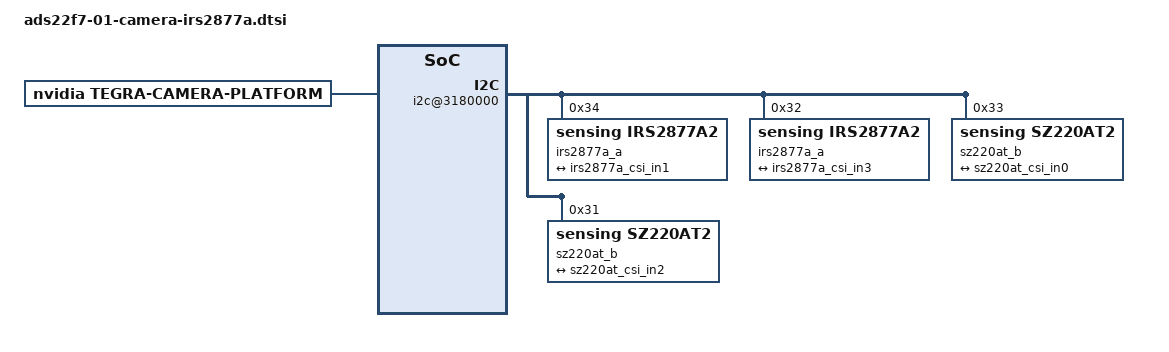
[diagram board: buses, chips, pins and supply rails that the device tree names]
/*
 * Copyright (c) 2018-2021, NVIDIA CORPORATION.  All rights reserved.
 *
 * This program is free software; you can redistribute it and/or modify it
 * under the terms and conditions of the GNU General Public License,
 * version 2, as published by the Free Software Foundation.
 *
 * This program is distributed in the hope it will be useful, but WITHOUT
 * ANY WARRANTY; without even the implied warranty of MERCHANTABILITY or
 * FITNESS FOR A PARTICULAR PURPOSE.  See the GNU General Public License for
 * more details.
 *
 * You should have received a copy of the GNU General Public License
 * along with this program.  If not, see <http://www.gnu.org/licenses/>.
 */

/ {

	 tegra-capture-vi {
        num-channels = <4>;
        ports {
            #address-cells = <1>;
            #size-cells = <0>;
            port@0 {
                reg = <0>;
                sz220at_vi_in0: endpoint {
                    vc-id = <0>;
                    port-index = <4>;
                    bus-width = <4>;
                    remote-endpoint = <&sz220at_csi_out0>;
                };
            };
            port@1 {
                reg = <1>;
                irs2877a_vi_in1: endpoint {
                    vc-id = <1>;
                    port-index = <4>;
                    bus-width = <4>;
                    remote-endpoint = <&irs2877a_csi_out1>;
                };
            };
            port@2 {
                reg = <2>;
                sz220at_vi_in2: endpoint {
                    vc-id = <2>;
                    port-index = <4>;
                    bus-width = <4>;
                    remote-endpoint = <&sz220at_csi_out2>;
                };
            };
            port@3 {
                reg = <3>;
                irs2877a_vi_in3: endpoint {
                    vc-id = <3>;
                    port-index = <4>;
                    bus-width = <4>;
                    remote-endpoint = <&irs2877a_csi_out3>;
                };
            };
        };
    };

    host1x@13e00000 {
        nvcsi@15a00000 {
            num-channels = <4>;
            #address-cells = <1>;
            #size-cells = <0>;
            channel@0 {
                reg = <0>;
                ports {
                    #address-cells = <1>;
                    #size-cells = <0>;
                    port@0 {
                        reg = <0>;
                        sz220at_csi_in0: endpoint@0 {
                            port-index = <4>;
                            bus-width = <4>;
                            remote-endpoint = <&sz220at_sz220at_out0>;
                        };
                    };
                    port@1 {
                        reg = <1>;
                        sz220at_csi_out0: endpoint@1 {
                            remote-endpoint = <&sz220at_vi_in0>;
                        };
                    };
                };
            };
            channel@1 {
                reg = <1>;
                ports {
                    #address-cells = <1>;
                    #size-cells = <0>;
                    port@0 {
                        reg = <0>;
                        irs2877a_csi_in1: endpoint@2 {
                            port-index = <4>;
                            bus-width = <4>;
                            remote-endpoint = <&irs2877a_irs2877a_out1>;
                        };
                    };
                    port@1 {
                        reg = <1>;
                        irs2877a_csi_out1: endpoint@3 {
                            remote-endpoint = <&irs2877a_vi_in1>;
                        };
                    };
                };
            };
            channel@2 {
                reg = <2>;
                ports {
                    #address-cells = <1>;
                    #size-cells = <0>;
                    port@0 {
                        reg = <0>;
                        sz220at_csi_in2: endpoint@4 {
                            port-index = <4>;
                            bus-width = <4>;
                            remote-endpoint = <&sz220at_sz220at_out2>;
                        };
                    };
                    port@1 {
                        reg = <1>;
                        sz220at_csi_out2: endpoint@5 {
                            remote-endpoint = <&sz220at_vi_in2>;
                        };
                    };
                };
            };
            channel@3 {
                reg = <3>;
                ports {
                    #address-cells = <1>;
                    #size-cells = <0>;
                    port@0 {
                        reg = <0>;
                        irs2877a_csi_in3: endpoint@6 {
                            port-index = <4>;
                            bus-width = <4>;
                            remote-endpoint = <&irs2877a_irs2877a_out3>;
                        };
                    };
                    port@1 {
                        reg = <1>;
                        irs2877a_csi_out3: endpoint@7 {
                            remote-endpoint = <&irs2877a_vi_in3>;
                        };
                    };
                };
            };
        };
    };

	i2c@3180000 {
	
		    irs2877a_a@34 {
			compatible = "sensing,irs2877a2";
			
			reg = <0x34>;

			sensor_model ="irs2877a2";
			mode0 {/*mode irs2877a_MODE_1920X1080_CROP_30FPS*/
		            mclk_khz = "24000";
		            num_lanes = "4";
		            tegra_sinterface = "serial_e";
			    phy_mode = "DPHY";
		            vc_id = "1";
		            discontinuous_clk = "no";
		            dpcm_enable = "false";
		            cil_settletime = "0";
		            dynamic_pixel_bit_depth = "12";
		            csi_pixel_bit_depth = "12";
		            mode_type = "bayer";
		            pixel_phase = "rggb";
		            active_w = "640";
		            active_h = "2169";
		            readout_orientation = "0";
		            line_length = "1000";
		            inherent_gain = "1";
		            pix_clk_hz = "41644800";
		            serdes_pix_clk_hz = "400000000";

		            gain_factor = "10";
		            min_gain_val = "0"; /* dB */
		            max_gain_val = "300"; /* dB */
		            step_gain_val = "3"; /* 0.3 */
		            default_gain = "0";
		            min_hdr_ratio = "1";
		            max_hdr_ratio = "1";
		            framerate_factor = "1000000";
		            min_framerate = "30000000";
		            max_framerate = "30000000";
		            step_framerate = "1";
		            default_framerate = "30000000";
		            exposure_factor = "1000000";
		            min_exp_time = "59"; /*us, 2 lines*/
		            max_exp_time = "33333";
		            step_exp_time = "1";
		            default_exp_time = "33333";/* us */
		            embedded_metadata_height = "0";
		        };
		        
			ports {
				#address-cells = <1>;
				#size-cells = <0>;
				port@0 {
					reg = <0>;
					irs2877a_irs2877a_out1: endpoint {
						vc-id = <1>;
						port-index = <4>;
						bus-width = <4>;
						remote-endpoint = <&irs2877a_csi_in1>;
					};
				};
			};
		   };
		
		   
		   irs2877a_a@32 {
		    compatible = "sensing,irs2877a2";
			
		    reg = <0x32>;

		    sensor_model ="irs2877a2";
		    mode0 {/*mode irs2877a_MODE_1920X1080_CROP_30FPS*/
		            mclk_khz = "24000";
		            num_lanes = "4";
		            tegra_sinterface = "serial_e";
			    phy_mode = "DPHY";
		            vc_id = "3";
		            discontinuous_clk = "no";
		            dpcm_enable = "false";
		            cil_settletime = "0";
		            dynamic_pixel_bit_depth = "12";
		            csi_pixel_bit_depth = "12";
		            mode_type = "bayer";
		            pixel_phase = "rggb";
		            active_w = "640";
		            active_h = "2169";
		            readout_orientation = "0";
		            line_length = "1000";
		            inherent_gain = "1";
		            pix_clk_hz = "41644800";
		            serdes_pix_clk_hz = "400000000";

		            gain_factor = "10";
		            min_gain_val = "0"; /* dB */
		            max_gain_val = "300"; /* dB */
		            step_gain_val = "3"; /* 0.3 */
		            default_gain = "0";
		            min_hdr_ratio = "1";
		            max_hdr_ratio = "1";
		            framerate_factor = "1000000";
		            min_framerate = "30000000";
		            max_framerate = "30000000";
		            step_framerate = "1";
		            default_framerate = "30000000";
		            exposure_factor = "1000000";
		            min_exp_time = "59"; /*us, 2 lines*/
		            max_exp_time = "33333";
		            step_exp_time = "1";
		            default_exp_time = "33333";/* us */
		            embedded_metadata_height = "0";
		        };
		        
			ports {
				#address-cells = <1>;
				#size-cells = <0>;
				port@0 {
					reg = <0>;
					irs2877a_irs2877a_out3: endpoint {
						vc-id = <3>;
						port-index = <4>;
						bus-width = <4>;
						remote-endpoint = <&irs2877a_csi_in3>;
					};
				};
			};
		};
		
		sz220at_b@33 {
			compatible = "sensing,sz220at2";
			
			reg = <0x33>;

			sensor_model ="sz220at2";
			mode0 {/*mode irs2877a_MODE_1920X1080_CROP_30FPS*/
		            mclk_khz = "24000";
		            num_lanes = "4";
		            tegra_sinterface = "serial_e";
			    phy_mode = "DPHY";
		            vc_id = "0";
		            discontinuous_clk = "no";
		            dpcm_enable = "false";
		            cil_settletime = "0";
		            dynamic_pixel_bit_depth = "16";
		            csi_pixel_bit_depth = "16";
		            mode_type = "yuv";
		            pixel_phase = "uyvy";

		            active_w = "1920";
		            active_h = "1080";
		            readout_orientation = "0";
		            line_length = "1000";
		            inherent_gain = "1";
		            pix_clk_hz = "62208000";
		            serdes_pix_clk_hz = "300000000";

		            gain_factor = "10";
		            min_gain_val = "0"; /* dB */
		            max_gain_val = "300"; /* dB */
		            step_gain_val = "3"; /* 0.3 */
		            default_gain = "0";
		            min_hdr_ratio = "1";
		            max_hdr_ratio = "1";
		            framerate_factor = "1000000";
		            min_framerate = "30000000";
		            max_framerate = "30000000";
		            step_framerate = "1";
		            default_framerate = "30000000";
		            exposure_factor = "1000000";
		            min_exp_time = "59"; /*us, 2 lines*/
		            max_exp_time = "33333";
		            step_exp_time = "1";
		            default_exp_time = "33333";/* us */
		            embedded_metadata_height = "0";
		        };
		        
			ports {
				#address-cells = <1>;
				#size-cells = <0>;
				port@0 {
					reg = <0>;
					sz220at_sz220at_out0: endpoint {
						vc-id = <0>;
						port-index = <4>;
						bus-width = <4>;
						remote-endpoint = <&sz220at_csi_in0>;
					};
				};
			};
		};
		
		sz220at_b@31 {
			compatible = "sensing,sz220at2";
			
			reg = <0x31>;

			sensor_model ="sz220at2";
			mode0 {/*mode irs2877a_MODE_1920X1080_CROP_30FPS*/
		            mclk_khz = "24000";
		            num_lanes = "4";
		            tegra_sinterface = "serial_e";
			    phy_mode = "DPHY";
		            vc_id = "2";
		            discontinuous_clk = "no";
		            dpcm_enable = "false";
		            cil_settletime = "0";
		            dynamic_pixel_bit_depth = "16";
		            csi_pixel_bit_depth = "16";
		            mode_type = "yuv";
		            pixel_phase = "uyvy";

		            active_w = "1920";
		            active_h = "1080";
		            readout_orientation = "0";
		            line_length = "1000";
		            inherent_gain = "1";
		            pix_clk_hz = "62208000";
		            serdes_pix_clk_hz = "300000000";

		            gain_factor = "10";
		            min_gain_val = "0"; /* dB */
		            max_gain_val = "300"; /* dB */
		            step_gain_val = "3"; /* 0.3 */
		            default_gain = "0";
		            min_hdr_ratio = "1";
		            max_hdr_ratio = "1";
		            framerate_factor = "1000000";
		            min_framerate = "30000000";
		            max_framerate = "30000000";
		            step_framerate = "1";
		            default_framerate = "30000000";
		            exposure_factor = "1000000";
		            min_exp_time = "59"; /*us, 2 lines*/
		            max_exp_time = "33333";
		            step_exp_time = "1";
		            default_exp_time = "33333";/* us */
		            embedded_metadata_height = "0";
		        };
		        
			ports {
				#address-cells = <1>;
				#size-cells = <0>;
				port@0 {
					reg = <0>;
					sz220at_sz220at_out2: endpoint {
						vc-id = <2>;
						port-index = <4>;
						bus-width = <4>;
						remote-endpoint = <&sz220at_csi_in2>;
					};
				};
			};
		};
	};
};

/ {

	tegra-camera-platform {
		compatible = "nvidia, tegra-camera-platform";

		/**
		 * The general guideline for naming badge_info contains 3 parts, and is as follows,
		 * The first part is the camera_board_id for the module; if the module is in a FFD
		 * platform, then use the platform name for this part.
		 * The second part contains the position of the module, ex. "rear" or "front".
		 * The third part contains the last 6 characters of a part number which is found
		 * in the module's specsheet from the vender.
		 */
		modules {
			module0 {
				badge = "irs2877a_rear";
				position = "rear";
				orientation = "1";
				drivernode0 {
					/* Declare PCL support driver (classically known as guid)  */
					pcl_id = "v4l2_sensor";
					/* Driver v4l2 device name */
					devname = "irs2877a 0x32";
					/* Declare the device-tree hierarchy to driver instance */
					proc-device-tree = "/proc/device-tree/i2c@3180000/irs2877a_a@32";
				};
			};
			
			module1 {
				badge = "sz220at_front";
				position = "front";
				orientation = "1";
				drivernode0 {
					/* Declare PCL support driver (classically known as guid)  */
					pcl_id = "v4l2_sensor";
					/* Driver v4l2 device name */
					devname = "sz220at 0x31";
					/* Declare the device-tree hierarchy to driver instance */
					proc-device-tree = "/proc/device-tree/i2c@3180000/sz220at_b@31";
				};
			};
			
			module2 {
				badge = "irs2877a_rear";
				position = "rear";
				orientation = "1";
				drivernode0 {
					/* Declare PCL support driver (classically known as guid)  */
					pcl_id = "v4l2_sensor";
					/* Driver v4l2 device name */
					devname = "irs2877a 0x34";
					/* Declare the device-tree hierarchy to driver instance */
					proc-device-tree = "/proc/device-tree/i2c@3180000/irs2877a_a@34";
				};
			};
			
			module3 {
				badge = "sz220at_front";
				position = "front";
				orientation = "1";
				drivernode0 {
					/* Declare PCL support driver (classically known as guid)  */
					pcl_id = "v4l2_sensor";
					/* Driver v4l2 device name */
					devname = "sz220at 0x33";
					/* Declare the device-tree hierarchy to driver instance */
					proc-device-tree = "/proc/device-tree/i2c@3180000/sz220at_b@33";
				};
			};
		};
	};
};
